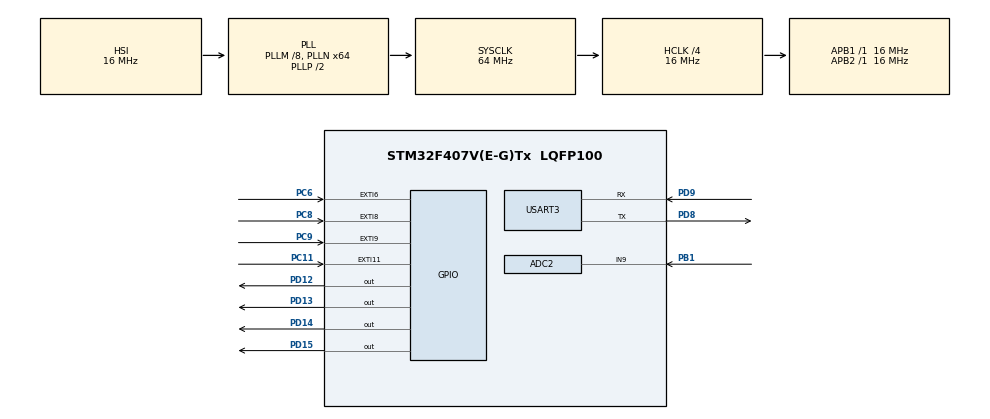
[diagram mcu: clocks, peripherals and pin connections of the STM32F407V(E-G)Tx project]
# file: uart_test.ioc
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ADC2.Channel-3\#ChannelRegularConversion=ADC_CHANNEL_9
ADC2.ClockPrescaler=ADC_CLOCK_SYNC_PCLK_DIV2
ADC2.ContinuousConvMode=ENABLE
ADC2.ExternalTrigConv=ADC_EXTERNALTRIGCONV_T2_TRGO
ADC2.InjNumberOfConversion=0
ADC2.NbrOfConversionFlag=1
ADC2.Rank-3\#ChannelRegularConversion=1
ADC2.SamplingTime-3\#ChannelRegularConversion=ADC_SAMPLETIME_56CYCLES
Mcu.Family=STM32F4
Mcu.Name=STM32F407V(E-G)Tx
Mcu.Package=LQFP100
NVIC.ADC_IRQn=true\:0\:0\:false\:false\:true\:true\:true
NVIC.EXTI15_10_IRQn=true\:0\:0\:false\:false\:true\:true\:true
NVIC.EXTI9_5_IRQn=true\:0\:0\:true\:false\:true\:true\:true
NVIC.PriorityGroup=NVIC_PRIORITYGROUP_4
PB1.Signal=ADCx_IN9
PC11.GPIO_PuPd=GPIO_PULLDOWN
PC11.Signal=GPXTI11
PC6.GPIO_PuPd=GPIO_PULLDOWN
PC6.Signal=GPXTI6
PC8.GPIO_PuPd=GPIO_PULLDOWN
PC8.Signal=GPXTI8
PC9.GPIO_PuPd=GPIO_PULLDOWN
PC9.Signal=GPXTI9
PD12.Signal=GPIO_Output
PD13.Signal=GPIO_Output
PD14.Signal=GPIO_Output
PD15.Signal=GPIO_Output
PD8.Mode=Asynchronous
PD8.Signal=USART3_TX
PD9.Mode=Asynchronous
PD9.Signal=USART3_RX
ProjectManager.HeapSize=0x200
ProjectManager.StackSize=0x400
ProjectManager.TargetToolchain=SW4STM32
RCC.48MHZClocksFreq_Value=32000000
RCC.AHBCLKDivider=RCC_SYSCLK_DIV4
RCC.AHBFreq_Value=16000000
RCC.APB1Freq_Value=16000000
RCC.APB1TimFreq_Value=16000000
RCC.APB2Freq_Value=16000000
RCC.APB2TimFreq_Value=16000000
RCC.CortexFreq_Value=16000000
RCC.HCLKFreq_Value=16000000
RCC.HSE_VALUE=25000000
RCC.HSI_VALUE=16000000
RCC.LSE_VALUE=32768
RCC.PLLM=8
RCC.PLLN=64
RCC.SYSCLKFreq_VALUE=64000000
RCC.SYSCLKSource=RCC_SYSCLKSOURCE_PLLCLK
RCC.VCOOutputFreq_Value=128000000
SH.ADCx_IN9.0=ADC2_IN9,IN9
TIM2.Period=50000
TIM2.Prescaler=1600
TIM2.TIM_MasterOutputTrigger=TIM_TRGO_UPDATE
USART3.VirtualMode=VM_ASYNC
VP_TIM2_VS_ClockSourceINT.Mode=Internal
board=custom

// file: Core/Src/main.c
/* USER CODE BEGIN Header */
/**
  ******************************************************************************
  * @file           : main.c
  * @brief          : Main program body
  ******************************************************************************
  * @attention
  *
  * <h2><center>&copy; Copyright (c) 2021 STMicroelectronics.
  * All rights reserved.</center></h2>
  *
  * This software component is licensed by ST under BSD 3-Clause license,
  * the "License"; You may not use this file except in compliance with the
  * License. You may obtain a copy of the License at:
  *                        opensource.org/licenses/BSD-3-Clause
  *
  ******************************************************************************
  */
/* USER CODE END Header */
#include "main.h"
#include <stdio.h>

#define CONTINUES_LOG

ADC_HandleTypeDef hadc2;

TIM_HandleTypeDef htim2;

UART_HandleTypeDef huart3;

void SystemClock_Config(void);
static void MX_GPIO_Init(void);
static void MX_USART3_UART_Init(void);
static void MX_ADC2_Init(void);
static void MX_TIM2_Init(void);

/* USER CODE BEGIN 0 */
uint8_t state = 0;
void HAL_GPIO_EXTI_Callback(uint16_t GPIO_Pin)
{
	if(GPIO_Pin == GPIO_PIN_6)
	{
		HAL_GPIO_TogglePin(GPIOD,GPIO_PIN_14);
		state ^=0x04;
		if(state&0x04)
			HAL_UART_Transmit(&huart3,(uint8_t *)"Red_ON\n",7,10);
		else
			HAL_UART_Transmit(&huart3,(uint8_t *)"Red_OFF\n",8,10);
	}
	if(GPIO_Pin == GPIO_PIN_8)
	{
		HAL_GPIO_TogglePin(GPIOD,GPIO_PIN_12);
		state ^=0x01;
		if(state&0x01)
			HAL_UART_Transmit(&huart3,(uint8_t *)"Green_ON\n",9,10);
		else
			HAL_UART_Transmit(&huart3,(uint8_t *)"Green_OFF\n",10,10);
	}
	if(GPIO_Pin == GPIO_PIN_9)
	{
	    HAL_GPIO_TogglePin(GPIOD,GPIO_PIN_13);
	    state ^= 0x02;
	    if(state&0x02)
	    	HAL_UART_Transmit(&huart3,(uint8_t *)"Orange_ON\n",10,10);
	    else
	    	HAL_UART_Transmit(&huart3,(uint8_t *)"Orange_OFF\n",11,10);
	}
	if(GPIO_Pin == GPIO_PIN_11)
	{
		HAL_GPIO_TogglePin(GPIOD,GPIO_PIN_15);
		state ^= 0x08;
		if(state&0x08)
			HAL_UART_Transmit(&huart3,(uint8_t *)"Blue_ON\n",8,10);
		else
			HAL_UART_Transmit(&huart3,(uint8_t *)"Blue_OFF\n",9,10);
	}
}

void HAL_ADC_ConvCpltCallback(ADC_HandleTypeDef* hadc)
{
	uint8_t str[60];
	uint32_t adc_value;
	uint16_t c,d;
	volatile HAL_StatusTypeDef adc_result;

	adc_result = HAL_ADC_PollForConversion(&hadc2,100);
	adc_value = HAL_ADC_GetValue(&hadc2);
	adc_value = (adc_value*75)>>7;
	adc_value =(8080-(5*adc_value))>>3;
	c = adc_value/10;
	d = adc_value - c*10;
	sprintf(str,"temp: %d.%d\n",c,d);

	HAL_UART_Transmit(&huart3,str,strlen(str),10);
#ifdef CONTINUES_LOG

 		  if(state&0x08)
 			  HAL_UART_Transmit(&huart3,(uint8_t *)"Blue_ON ",8,10);
 		  else
 			  HAL_UART_Transmit(&huart3,(uint8_t *)"Blue_OFF ",9,10);
 		  if(state&0x04)
 			  HAL_UART_Transmit(&huart3,(uint8_t *)"Red_ON ",7,10);
 		  else
 			  HAL_UART_Transmit(&huart3,(uint8_t *)"Red_OFF ",8,10);

 		  if(state&0x02)
 			  HAL_UART_Transmit(&huart3,(uint8_t *)"Orange_ON ",10,10);
 		  else
 			  HAL_UART_Transmit(&huart3,(uint8_t *)"Orange_OFF ",11,10);

 		  if(state&0x01)
 			  HAL_UART_Transmit(&huart3,(uint8_t *)"Green_ON\n",9,10);
 		  else
 			  HAL_UART_Transmit(&huart3,(uint8_t *)"Green_OFF\n",10,10);

#endif
}
/* USER CODE END 0 */

int main(void)
{

  /* MCU Configuration--------------------------------------------------------*/

  /* Reset of all peripherals, Initializes the Flash interface and the Systick. */
  HAL_Init();

  /* Configure the system clock */
  SystemClock_Config();

  /* Initialize all configured peripherals */
  MX_GPIO_Init();
  MX_USART3_UART_Init();
  MX_ADC2_Init();
  MX_TIM2_Init();
  /* USER CODE BEGIN 2 */
  HAL_TIM_Base_Start(&htim2);
  HAL_ADC_Start_IT(&hadc2);
  /* USER CODE END 2 */

  /* Infinite loop */
  /* USER CODE BEGIN WHILE */
  uint8_t Buf[3];
  HAL_StatusTypeDef result;

  while (1)
  {
	  result = HAL_UART_Receive(&huart3,Buf,1,10);
	  if(result == HAL_OK)
	  {
		  switch(Buf[0])
		  		  {
		  	  	   	  case 'b':
		  	  	   		  HAL_GPIO_TogglePin(GPIOD,GPIO_PIN_15);
		  	  	   		  state ^=0x08;
		  	  	   		  if(state&0x08)
		  	  	   			  HAL_UART_Transmit(&huart3,(uint8_t *)"Blue_ON\n",8,10);
		  	  	   		  else
		  	  	   			  HAL_UART_Transmit(&huart3,(uint8_t *)"Blue_OFF\n",9,10);
		  	  	   		  break;
		  	  	   	  case 'r':
		  	  	   		  HAL_GPIO_TogglePin(GPIOD,GPIO_PIN_14);
		  	  	   		  state ^=0x04;
		  	  	   		  if(state&0x04)
		  	  	   			  HAL_UART_Transmit(&huart3,(uint8_t *)"Red_ON\n",7,10);
		  	  	   		  else
		  	  	   			  HAL_UART_Transmit(&huart3,(uint8_t *)"Red_OFF\n",8,10);
		  	  	   		  break;
		  	  	   	  case 'o':
		  	  	   		  HAL_GPIO_TogglePin(GPIOD,GPIO_PIN_13);
		  	  	   		  state ^=0x02;
		  	  	   		  if(state&0x02)
		  	  	   			  HAL_UART_Transmit(&huart3,(uint8_t *)"Orange_ON\n",10,10);
		  	  	   		  else
		  	  	   			  HAL_UART_Transmit(&huart3,(uint8_t *)"Orange_OFF\n",11,10);
		  	  	   		  break;
		  	  	   	  case 'g':
		  	  	   		  HAL_GPIO_TogglePin(GPIOD,GPIO_PIN_12);
		  	  	   		  state ^=0x01;
		  	  	   		  if(state&0x01)
		  	  	   			  HAL_UART_Transmit(&huart3,(uint8_t *)"Green_ON\n",9,10);
		  	  	   		  else
		  	  	   			  HAL_UART_Transmit(&huart3,(uint8_t *)"Green_OFF\n",10,10);
		  	  	   		  break;
		  	  	   	  default:
		  	  	   		  HAL_UART_Transmit(&huart3,(uint8_t *)"ERROR\n",5,10);
		  	  	   		  break;
		  		  }
	  }

    /* USER CODE END WHILE */

  }
}

void SystemClock_Config(void)
{
  RCC_OscInitTypeDef RCC_OscInitStruct = {0};
  RCC_ClkInitTypeDef RCC_ClkInitStruct = {0};

  /** Configure the main internal regulator output voltage
  */
  __HAL_RCC_PWR_CLK_ENABLE();
  __HAL_PWR_VOLTAGESCALING_CONFIG(PWR_REGULATOR_VOLTAGE_SCALE1);
  /** Initializes the RCC Oscillators according to the specified parameters
  * in the RCC_OscInitTypeDef structure.
  */
  RCC_OscInitStruct.OscillatorType = RCC_OSCILLATORTYPE_HSI;
  RCC_OscInitStruct.HSIState = RCC_HSI_ON;
  RCC_OscInitStruct.HSICalibrationValue = RCC_HSICALIBRATION_DEFAULT;
  RCC_OscInitStruct.PLL.PLLState = RCC_PLL_ON;
  RCC_OscInitStruct.PLL.PLLSource = RCC_PLLSOURCE_HSI;
  RCC_OscInitStruct.PLL.PLLM = 8;
  RCC_OscInitStruct.PLL.PLLN = 64;
  RCC_OscInitStruct.PLL.PLLP = RCC_PLLP_DIV2;
  RCC_OscInitStruct.PLL.PLLQ = 4;
  if (HAL_RCC_OscConfig(&RCC_OscInitStruct) != HAL_OK)
  {
    Error_Handler();
  }
  /** Initializes the CPU, AHB and APB buses clocks
  */
  RCC_ClkInitStruct.ClockType = RCC_CLOCKTYPE_HCLK|RCC_CLOCKTYPE_SYSCLK
                              |RCC_CLOCKTYPE_PCLK1|RCC_CLOCKTYPE_PCLK2;
  RCC_ClkInitStruct.SYSCLKSource = RCC_SYSCLKSOURCE_PLLCLK;
  RCC_ClkInitStruct.AHBCLKDivider = RCC_SYSCLK_DIV4;
  RCC_ClkInitStruct.APB1CLKDivider = RCC_HCLK_DIV1;
  RCC_ClkInitStruct.APB2CLKDivider = RCC_HCLK_DIV1;

  if (HAL_RCC_ClockConfig(&RCC_ClkInitStruct, FLASH_LATENCY_0) != HAL_OK)
  {
    Error_Handler();
  }
}

static void MX_ADC2_Init(void)
{

  ADC_ChannelConfTypeDef sConfig = {0};

  /** Configure the global features of the ADC (Clock, Resolution, Data Alignment and number of conversion)
  */
  hadc2.Instance = ADC2;
  hadc2.Init.ClockPrescaler = ADC_CLOCK_SYNC_PCLK_DIV2;
  hadc2.Init.Resolution = ADC_RESOLUTION_12B;
  hadc2.Init.ScanConvMode = DISABLE;
  hadc2.Init.ContinuousConvMode = ENABLE;
  hadc2.Init.DiscontinuousConvMode = DISABLE;
  hadc2.Init.ExternalTrigConvEdge = ADC_EXTERNALTRIGCONVEDGE_RISING;
  hadc2.Init.ExternalTrigConv = ADC_EXTERNALTRIGCONV_T2_TRGO;
  hadc2.Init.DataAlign = ADC_DATAALIGN_RIGHT;
  hadc2.Init.NbrOfConversion = 1;
  hadc2.Init.DMAContinuousRequests = DISABLE;
  hadc2.Init.EOCSelection = ADC_EOC_SINGLE_CONV;
  if (HAL_ADC_Init(&hadc2) != HAL_OK)
  {
    Error_Handler();
  }
  /** Configure for the selected ADC regular channel its corresponding rank in the sequencer and its sample time.
  */
  sConfig.Channel = ADC_CHANNEL_9;
  sConfig.Rank = 1;
  sConfig.SamplingTime = ADC_SAMPLETIME_56CYCLES;
  if (HAL_ADC_ConfigChannel(&hadc2, &sConfig) != HAL_OK)
  {
    Error_Handler();
  }

}

static void MX_TIM2_Init(void)
{

  TIM_ClockConfigTypeDef sClockSourceConfig = {0};
  TIM_MasterConfigTypeDef sMasterConfig = {0};

  htim2.Instance = TIM2;
  htim2.Init.Prescaler = 1600;
  htim2.Init.CounterMode = TIM_COUNTERMODE_UP;
  htim2.Init.Period = 50000;
  htim2.Init.ClockDivision = TIM_CLOCKDIVISION_DIV1;
  htim2.Init.AutoReloadPreload = TIM_AUTORELOAD_PRELOAD_DISABLE;
  if (HAL_TIM_Base_Init(&htim2) != HAL_OK)
  {
    Error_Handler();
  }
  sClockSourceConfig.ClockSource = TIM_CLOCKSOURCE_INTERNAL;
  if (HAL_TIM_ConfigClockSource(&htim2, &sClockSourceConfig) != HAL_OK)
  {
    Error_Handler();
  }
  sMasterConfig.MasterOutputTrigger = TIM_TRGO_UPDATE;
  sMasterConfig.MasterSlaveMode = TIM_MASTERSLAVEMODE_DISABLE;
  if (HAL_TIMEx_MasterConfigSynchronization(&htim2, &sMasterConfig) != HAL_OK)
  {
    Error_Handler();
  }

}

static void MX_USART3_UART_Init(void)
{

  huart3.Instance = USART3;
  huart3.Init.BaudRate = 115200;
  huart3.Init.WordLength = UART_WORDLENGTH_8B;
  huart3.Init.StopBits = UART_STOPBITS_1;
  huart3.Init.Parity = UART_PARITY_NONE;
  huart3.Init.Mode = UART_MODE_TX_RX;
  huart3.Init.HwFlowCtl = UART_HWCONTROL_NONE;
  huart3.Init.OverSampling = UART_OVERSAMPLING_16;
  if (HAL_UART_Init(&huart3) != HAL_OK)
  {
    Error_Handler();
  }

}

static void MX_GPIO_Init(void)
{
  GPIO_InitTypeDef GPIO_InitStruct = {0};

  /* GPIO Ports Clock Enable */
  __HAL_RCC_GPIOB_CLK_ENABLE();
  __HAL_RCC_GPIOD_CLK_ENABLE();
  __HAL_RCC_GPIOC_CLK_ENABLE();

  /*Configure GPIO pin Output Level */
  HAL_GPIO_WritePin(GPIOD, GPIO_PIN_12|GPIO_PIN_13|GPIO_PIN_14|GPIO_PIN_15, GPIO_PIN_RESET);

  /*Configure GPIO pins : PD12 PD13 PD14 PD15 */
  GPIO_InitStruct.Pin = GPIO_PIN_12|GPIO_PIN_13|GPIO_PIN_14|GPIO_PIN_15;
  GPIO_InitStruct.Mode = GPIO_MODE_OUTPUT_PP;
  GPIO_InitStruct.Pull = GPIO_NOPULL;
  GPIO_InitStruct.Speed = GPIO_SPEED_FREQ_LOW;
  HAL_GPIO_Init(GPIOD, &GPIO_InitStruct);

  /*Configure GPIO pins : PC6 PC8 PC9 PC11 */
  GPIO_InitStruct.Pin = GPIO_PIN_6|GPIO_PIN_8|GPIO_PIN_9|GPIO_PIN_11;
  GPIO_InitStruct.Mode = GPIO_MODE_IT_RISING;
  GPIO_InitStruct.Pull = GPIO_PULLDOWN;
  HAL_GPIO_Init(GPIOC, &GPIO_InitStruct);

  /* EXTI interrupt init*/
  HAL_NVIC_SetPriority(EXTI9_5_IRQn, 0, 0);
  HAL_NVIC_EnableIRQ(EXTI9_5_IRQn);

  HAL_NVIC_SetPriority(EXTI15_10_IRQn, 0, 0);
  HAL_NVIC_EnableIRQ(EXTI15_10_IRQn);

}

void Error_Handler(void)
{
}

/************************ (C) COPYRIGHT STMicroelectronics *****END OF FILE****/
